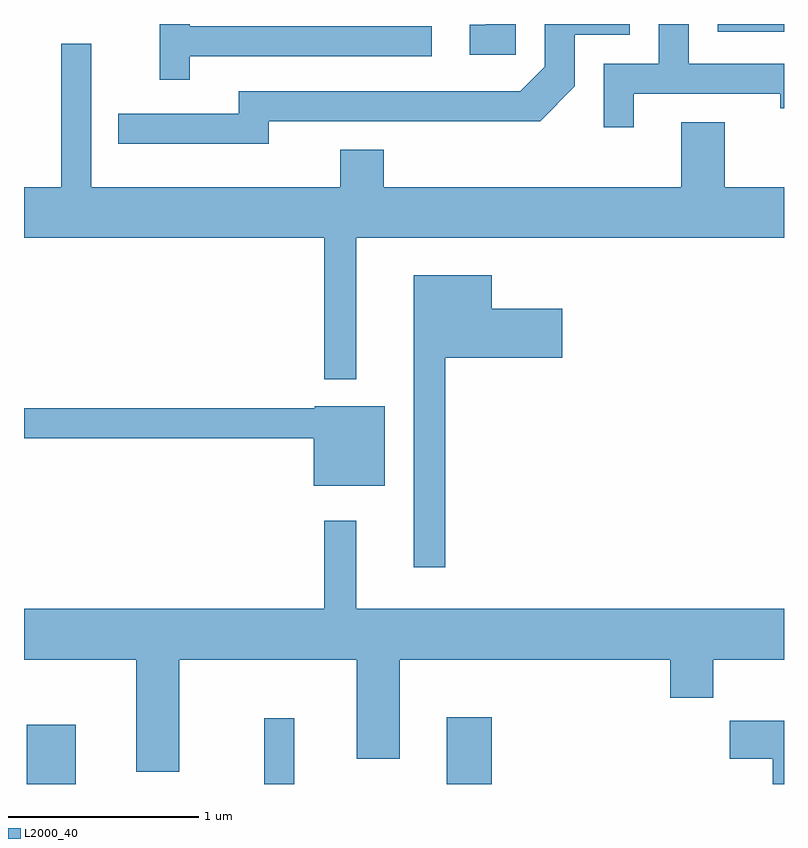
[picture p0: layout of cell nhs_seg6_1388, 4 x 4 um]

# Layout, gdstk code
import gdstk
lib = gdstk.Library(unit=1e-6, precision=1e-09)
def R(c, l, rs):  # rectangles x0, y0, x1, y1
    for r in rs: c.add(gdstk.rectangle(r[:2], r[2:], *l))
def P(c, l, *ps):  # polygons
    for p in ps: c.add(gdstk.Polygon(p, *l))
L2000_40 = (2000, 40)

nhs_seg6_1388 = lib.new_cell('nhs_seg6_1388')
R(nhs_seg6_1388, L2000_40, [(225.626,1658.162,225.884,1658.474), (226.876,1658.162,227.034,1658.508), (227.836,1658.162,228.074,1658.514), (229.261,1662.121,229.611,1662.162)])
P(nhs_seg6_1388, L2000_40, [(226.899,1661.651),(228.327,1661.651),(228.509,1661.834),(228.509,1662.106),(228.799,1662.106),(228.799,1662.162),(228.351,1662.162),(228.351,1661.937),(228.224,1661.809),(226.741,1661.809),(226.741,1661.689),(226.108,1661.689),(226.108,1661.531),(226.899,1661.531)],
  [(228.819,1661.796),(229.591,1661.796),(229.591,1661.718),(229.611,1661.718),(229.611,1661.954),(229.109,1661.954),(229.109,1662.162),(228.951,1662.162),(228.951,1661.954),(228.661,1661.954),(228.661,1661.618),(228.819,1661.618)],
  [(228.199,1662.162),(228.041,1662.162),(228.041,1662.159),(227.958,1662.159),(227.958,1662.001),(228.199,1662.001)],
  [(226.484,1661.991),(227.758,1661.991),(227.758,1662.149),(226.484,1662.149),(226.484,1662.162),(226.326,1662.162),(226.326,1661.868),(226.484,1661.868)],
  [(227.359,1661.036),(229.611,1661.036),(229.611,1661.304),(229.299,1661.304),(229.299,1661.644),(229.071,1661.644),(229.071,1661.304),(227.504,1661.304),(227.504,1661.499),(227.276,1661.499),(227.276,1661.304),(225.964,1661.304),(225.964,1662.058),(225.806,1662.058),(225.806,1661.304),(225.611,1661.304),(225.611,1661.036),(227.191,1661.036),(227.191,1660.293),(227.359,1660.293)],
  [(227.829,1660.406),(228.444,1660.406),(228.444,1660.664),(228.074,1660.664),(228.074,1660.839),(227.661,1660.839),(227.661,1659.303),(227.829,1659.303)],
  [(227.509,1660.149),(227.14,1660.149),(227.14,1660.139),(225.611,1660.139),(225.611,1659.981),(227.136,1659.981),(227.136,1659.731),(227.509,1659.731)],
  [(226.429,1658.816),(227.361,1658.816),(227.361,1658.296),(227.589,1658.296),(227.589,1658.816),(229.011,1658.816),(229.011,1658.616),(229.239,1658.616),(229.239,1658.816),(229.611,1658.816),(229.611,1659.084),(227.359,1659.084),(227.359,1659.548),(227.191,1659.548),(227.191,1659.084),(225.611,1659.084),(225.611,1658.816),(226.201,1658.816),(226.201,1658.226),(226.429,1658.226)],
  [(229.611,1658.494),(229.326,1658.494),(229.326,1658.296),(229.551,1658.296),(229.551,1658.162),(229.611,1658.162)])

lib.write_gds('nhs_seg6_1388.gds')
